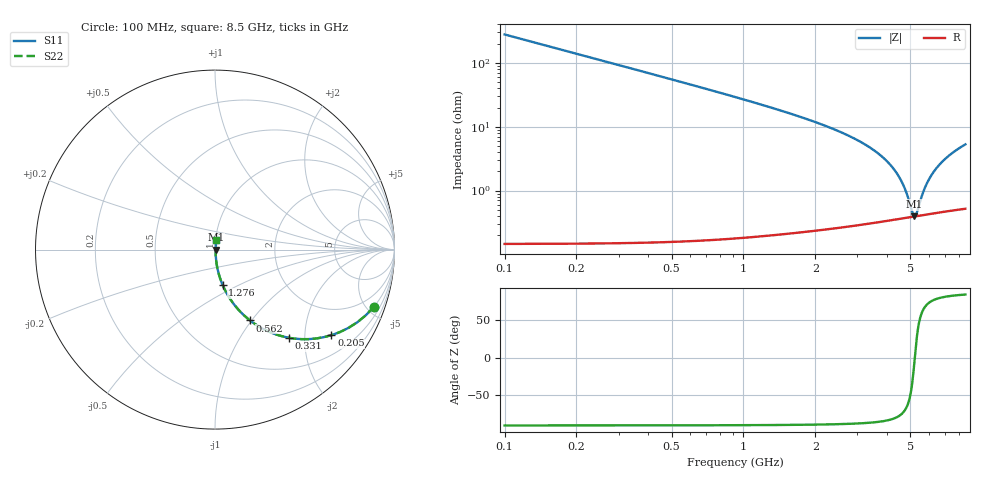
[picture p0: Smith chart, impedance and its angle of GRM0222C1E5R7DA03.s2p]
!Murata Part Number: GRM0222C1E5R7DA03
!These Parameters are Measured in Series Mode Connection
!Data Generated on Mar 30, 2021
!  o--ll--o
!Port1  Port2
!  o------o
!Operation Temp=25[degC], DC Bias Voltage=0[V]
!Freq. Start=100[MHz] Stop=9[GHz] 401[Steps]
# Hz S RI R 50
!Freq.(Hz) S11(Real) S11(Imag) S21(Real) S21(Imag) S12(Real) S12(Imag) S22(Real) S22(Imag)
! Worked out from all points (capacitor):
!   401 points, 100 MHz to 8.5 GHz, reference 50 ohm
!   read as one part in series: C = 5.7 pF near 142 MHz
!   lowest |Z| = 394 mohm at 5.203 GHz (marker M1)
!   series resonance near 5.217 GHz, so ESL is about 160 pH
!   S11 on the Smith chart (normalised r, x): 100 MHz: 1.00, -5.58; 205 MHz: 1.00, -2.72; 331 MHz: 1.00, -1.68; 562 MHz: 1.00, -0.98; 1.276 GHz: 1.00, -0.41; 8.5 GHz: 1.01, +0.11
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1e8  0.8861 -0.3174  0.1139 0.3174  0.1139 0.3174  0.8861 -0.3174
2.05e8  0.6488 -0.4768  0.3512 0.4768  0.3512 0.4768  0.6488 -0.4768
3.31e8  0.4138 -0.4916  0.5862 0.4916  0.5862 0.4916  0.4138 -0.4916
4.36e8  0.2882 -0.4517  0.7118 0.4517  0.7118 0.4517  0.2882 -0.4517
5.62e8  0.1948 -0.3945  0.8052 0.3945  0.8052 0.3945  0.1948 -0.3945
8.35e8  0.097 -0.2933  0.903 0.2933  0.903 0.2933  0.097 -0.2933
1.276e9  0.0421 -0.1961  0.9579 0.1961  0.9579 0.1961  0.0421 -0.1961
1.507e9  0.0297 -0.1638  0.9703 0.1638  0.9703 0.1638  0.0297 -0.1638
2.914e9  0.00701 -0.0647  0.993 0.0647  0.993 0.0647  0.00701 -0.0647
3.733e9  0.00449 -0.0358  0.9955 0.0358  0.9955 0.0358  0.00449 -0.0358
4.3e9  0.00391 -0.0204  0.9961 0.0204  0.9961 0.0204  0.00391 -0.0204
4.699e9  0.0038 -0.0109  0.9962 0.0109  0.9962 0.0109  0.0038 -0.0109
4.867e9  0.00381 -0.00726  0.9962 0.00726  0.9962 0.00726  0.00381 -0.00726
5.098e9  0.00387 -0.00241  0.9961 0.00241  0.9961 0.00241  0.00387 -0.00241
5.203e9  0.00392 -0.000285  0.9961 0.000285  0.9961 0.000285  0.00392 -0.000285
5.308e9  0.00397 0.0018  0.996 -0.0018  0.996 -0.0018  0.00397 0.0018
5.539e9  0.00411 0.00623  0.9959 -0.00623  0.9959 -0.00623  0.00411 0.00623
5.707e9  0.00423 0.00934  0.9958 -0.00934  0.9958 -0.00934  0.00423 0.00934
5.959e9  0.00444 0.0138  0.9956 -0.0138  0.9956 -0.0138  0.00444 0.0138
6.274e9  0.00475 0.0192  0.9952 -0.0192  0.9952 -0.0192  0.00475 0.0192
7.114e9  0.00577 0.0325  0.9942 -0.0325  0.9942 -0.0325  0.00577 0.0325
8.5e9  0.0079 0.052  0.9921 -0.052  0.9921 -0.052  0.0079 0.052
